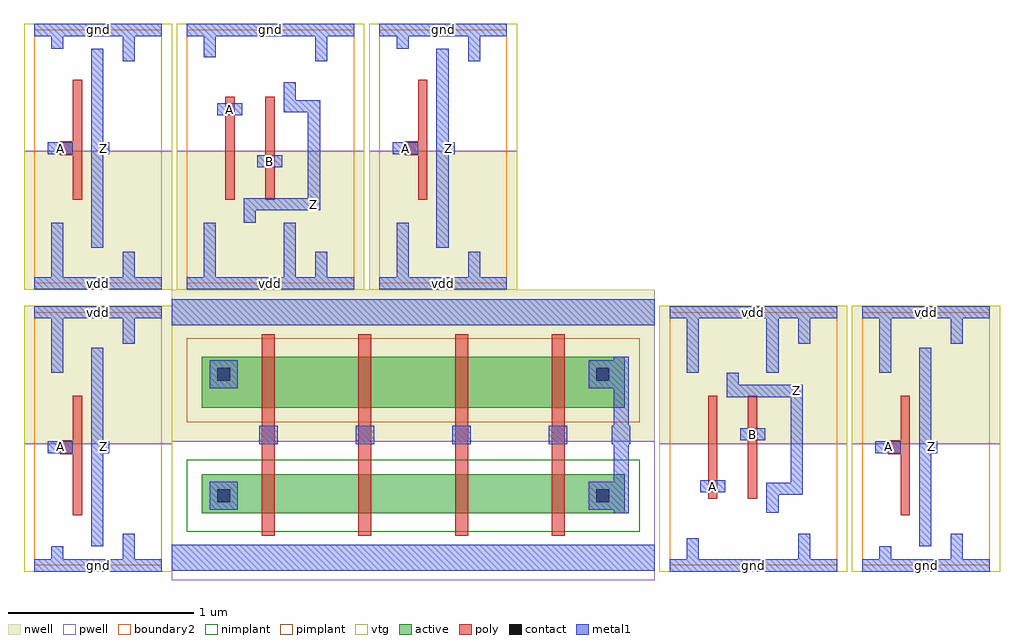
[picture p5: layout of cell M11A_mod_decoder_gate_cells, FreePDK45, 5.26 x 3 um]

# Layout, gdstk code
import gdstk
lib = gdstk.Library(unit=1e-6, precision=1e-09)
def R(c, l, rs):  # rectangles x0, y0, x1, y1
    for r in rs: c.add(gdstk.rectangle(r[:2], r[2:], *l))
def A(c, l, x, y, w, h, nx, ny, dx, dy):  # array of equal rectangles
    R(c, l, [(x+i*dx, y+j*dy, x+i*dx+w, y+j*dy+h) for i in range(nx) for j in range(ny)])
active = (1, 0)
pwell = (2, 0)
nwell = (3, 0)
nimplant = (4, 0)
pimplant = (5, 0)
vtg = (6, 0)
poly = (9, 0)
contact = (10, 0)
metal1 = (11, 0)
boundary2 = (239, 0)

m11a_mod_decoder_gate_ce = lib.new_cell('M11A_mod_decoder_gate_cells')
R(m11a_mod_decoder_gate_ce, active, [(0.982,0.36,3.262,0.57), (0.982,0.93,3.262,1.205)])
R(m11a_mod_decoder_gate_ce, pwell, [(0.822,0,3.422,0.75), (0.025,0.047,0.823,0.735), (3.448,0.047,4.46,0.735), (4.485,0.047,5.283,0.735), (0.025,2.31,0.823,2.998), (0.847,2.31,1.859,2.998), (1.885,2.31,2.683,2.998)])
R(m11a_mod_decoder_gate_ce, nwell, [(0.025,0.735,0.823,1.48), (3.448,0.735,4.46,1.48), (4.485,0.735,5.283,1.48), (0.822,0.75,3.422,1.565), (0.025,1.565,0.823,2.31), (0.847,1.565,1.859,2.31), (1.885,1.565,2.683,2.31)])
R(m11a_mod_decoder_gate_ce, nimplant, [(0.902,0.26,3.342,0.65)])
R(m11a_mod_decoder_gate_ce, pimplant, [(0.902,0.85,3.342,1.305)])
R(m11a_mod_decoder_gate_ce, vtg, [(0.025,0.047,0.823,0.735), (3.448,0.047,4.46,0.735), (4.485,0.047,5.283,0.735), (0.025,0.735,0.823,1.48), (3.448,0.735,4.46,1.48), (4.485,0.735,5.283,1.48), (0.025,1.565,0.823,2.31), (0.847,1.565,1.859,2.31), (1.885,1.565,2.683,2.31), (0.025,2.31,0.823,2.998), (0.847,2.31,1.859,2.998), (1.885,2.31,2.683,2.998)])
A(m11a_mod_decoder_gate_ce, poly, 1.307, 0.24, 0.07, 1.085, 4, 1, 0.52, 0)
R(m11a_mod_decoder_gate_ce, poly, [(0.288,0.35,0.338,0.995), (4.748,0.35,4.798,0.995), (3.711,0.44,3.761,0.995), (3.925,0.44,3.976,0.995), (3.711,0.47,3.735,0.545), (0.22,0.68,0.288,0.755), (4.68,0.68,4.748,0.755), (3.925,0.75,3.95,0.825), (0.288,2.05,0.338,2.695), (1.11,2.05,1.16,2.605), (1.324,2.05,1.375,2.605), (2.148,2.05,2.198,2.695), (1.324,2.22,1.349,2.295), (0.22,2.29,0.288,2.365), (2.08,2.29,2.148,2.365), (1.11,2.5,1.134,2.575)])
R(m11a_mod_decoder_gate_ce, contact, [(1.067,0.42,1.137,0.49), (3.107,0.42,3.177,0.49), (1.067,1.075,1.137,1.145), (3.107,1.075,3.177,1.145)])
A(m11a_mod_decoder_gate_ce, metal1, 1.292, 0.733, 0.1, 0.099, 4, 1, 0.52, 0)
R(m11a_mod_decoder_gate_ce, metal1, [(0.08,0.047,0.767,0.113), (0.172,0.047,0.237,0.183), (3.503,0.047,4.405,0.113), (3.595,0.047,3.66,0.227), (4.54,0.047,5.227,0.113), (4.632,0.047,4.697,0.183), (0.822,0.05,3.422,0.19), (2.072,0.07,2.172,0.17), (0.558,0.08,0.622,0.25), (4.195,0.08,4.261,0.25), (5.018,0.08,5.082,0.25), (0.387,0.183,0.452,1.253), (4.847,0.183,4.912,1.253), (3.202,0.36,3.282,1.205), (4.025,0.363,4.091,0.493), (1.027,0.38,1.177,0.53), (3.067,0.38,3.217,0.53), (4.025,0.46,4.091,0.525), (4.058,0.46,4.188,0.525), (4.155,0.46,4.221,0.525), (3.668,0.475,3.803,0.54), (4.155,0.493,4.221,1.02), (0.152,0.685,0.288,0.75), (0.42,0.685,0.485,0.75), (4.612,0.685,4.748,0.75), (4.88,0.685,4.945,0.75), (3.192,0.733,3.292,0.832), (3.883,0.755,4.018,0.82), (3.81,0.987,3.875,1.052), (3.843,0.987,4.188,1.052), (4.155,0.987,4.221,1.052), (3.81,1.02,3.875,1.118), (1.027,1.035,1.177,1.185), (3.067,1.035,3.217,1.185), (0.172,1.118,0.237,1.477), (3.595,1.118,3.66,1.477), (4.025,1.118,4.091,1.477), (4.632,1.118,4.697,1.477), (0.558,1.275,0.622,1.445), (4.195,1.275,4.261,1.445), (5.018,1.275,5.082,1.445), (0.822,1.375,3.422,1.515), (2.072,1.395,2.172,1.495), (0.08,1.412,0.767,1.477), (3.503,1.412,4.405,1.477), (4.54,1.412,5.227,1.477), (0.08,1.568,0.767,1.633), (0.172,1.568,0.237,1.927), (0.902,1.568,1.804,1.633), (0.994,1.568,1.059,1.927), (1.424,1.568,1.49,1.927), (1.94,1.568,2.627,1.633), (2.032,1.568,2.097,1.927), (0.558,1.6,0.622,1.77), (1.594,1.6,1.66,1.77), (2.418,1.6,2.482,1.77), (0.387,1.792,0.452,2.862), (2.247,1.792,2.312,2.862), (1.209,1.927,1.274,2.025), (1.209,1.993,1.274,2.058), (1.242,1.993,1.587,2.058), (1.554,1.993,1.62,2.058), (1.554,2.025,1.62,2.552), (1.282,2.225,1.417,2.29), (0.152,2.295,0.288,2.36), (0.42,2.295,0.485,2.36), (2.012,2.295,2.148,2.36), (2.28,2.295,2.345,2.36), (1.067,2.505,1.202,2.57), (1.424,2.52,1.49,2.585), (1.457,2.52,1.587,2.585), (1.554,2.52,1.62,2.585), (1.424,2.552,1.49,2.682), (0.558,2.795,0.622,2.965), (1.594,2.795,1.66,2.965), (2.418,2.795,2.482,2.965), (0.994,2.818,1.059,2.998), (0.172,2.862,0.237,2.998), (2.032,2.862,2.097,2.998), (0.08,2.932,0.767,2.998), (0.902,2.932,1.804,2.998), (1.94,2.932,2.627,2.998)])
R(m11a_mod_decoder_gate_ce, boundary2, [(0.08,0.08,0.767,1.445), (0.08,0.08,0.767,1.445), (3.503,0.08,4.405,1.445), (3.503,0.08,4.405,1.445), (4.54,0.08,5.227,1.445), (4.54,0.08,5.227,1.445), (0.08,1.6,0.767,2.965), (0.08,1.6,0.767,2.965), (0.902,1.6,1.804,2.965), (0.902,1.6,1.804,2.965), (1.94,1.6,2.627,2.965), (1.94,1.6,2.627,2.965)])
m11a_mod_decoder_gate_ce.add(gdstk.Label('A', (0.22,0.718), layer=11, texttype=0))
m11a_mod_decoder_gate_ce.add(gdstk.Label('Z', (0.452,0.718), layer=11, texttype=0))
m11a_mod_decoder_gate_ce.add(gdstk.Label('gnd', (0.425,0.08), layer=11, texttype=0))
m11a_mod_decoder_gate_ce.add(gdstk.Label('vdd', (0.425,1.445), layer=11, texttype=0))
m11a_mod_decoder_gate_ce.add(gdstk.Label('A', (2.08,2.327), layer=11, texttype=0))
m11a_mod_decoder_gate_ce.add(gdstk.Label('Z', (2.312,2.327), layer=11, texttype=0))
m11a_mod_decoder_gate_ce.add(gdstk.Label('gnd', (2.285,2.965), layer=11, texttype=0))
m11a_mod_decoder_gate_ce.add(gdstk.Label('vdd', (2.285,1.6), layer=11, texttype=0))
m11a_mod_decoder_gate_ce.add(gdstk.Label('Z', (1.587,2.025), layer=11, texttype=0))
m11a_mod_decoder_gate_ce.add(gdstk.Label('gnd', (1.352,2.965), layer=11, texttype=0))
m11a_mod_decoder_gate_ce.add(gdstk.Label('vdd', (1.352,1.6), layer=11, texttype=0))
m11a_mod_decoder_gate_ce.add(gdstk.Label('A', (1.134,2.538), layer=11, texttype=0))
m11a_mod_decoder_gate_ce.add(gdstk.Label('B', (1.349,2.258), layer=11, texttype=0))
m11a_mod_decoder_gate_ce.add(gdstk.Label('A', (0.22,2.327), layer=11, texttype=0))
m11a_mod_decoder_gate_ce.add(gdstk.Label('Z', (0.452,2.327), layer=11, texttype=0))
m11a_mod_decoder_gate_ce.add(gdstk.Label('gnd', (0.425,2.965), layer=11, texttype=0))
m11a_mod_decoder_gate_ce.add(gdstk.Label('vdd', (0.425,1.6), layer=11, texttype=0))
m11a_mod_decoder_gate_ce.add(gdstk.Label('A', (4.68,0.718), layer=11, texttype=0))
m11a_mod_decoder_gate_ce.add(gdstk.Label('Z', (4.912,0.718), layer=11, texttype=0))
m11a_mod_decoder_gate_ce.add(gdstk.Label('gnd', (4.885,0.08), layer=11, texttype=0))
m11a_mod_decoder_gate_ce.add(gdstk.Label('vdd', (4.885,1.445), layer=11, texttype=0))
m11a_mod_decoder_gate_ce.add(gdstk.Label('Z', (4.188,1.02), layer=11, texttype=0))
m11a_mod_decoder_gate_ce.add(gdstk.Label('gnd', (3.953,0.08), layer=11, texttype=0))
m11a_mod_decoder_gate_ce.add(gdstk.Label('vdd', (3.953,1.445), layer=11, texttype=0))
m11a_mod_decoder_gate_ce.add(gdstk.Label('A', (3.735,0.507), layer=11, texttype=0))
m11a_mod_decoder_gate_ce.add(gdstk.Label('B', (3.95,0.787), layer=11, texttype=0))

lib.write_gds('M11A_mod_decoder_gate_cells.gds')
